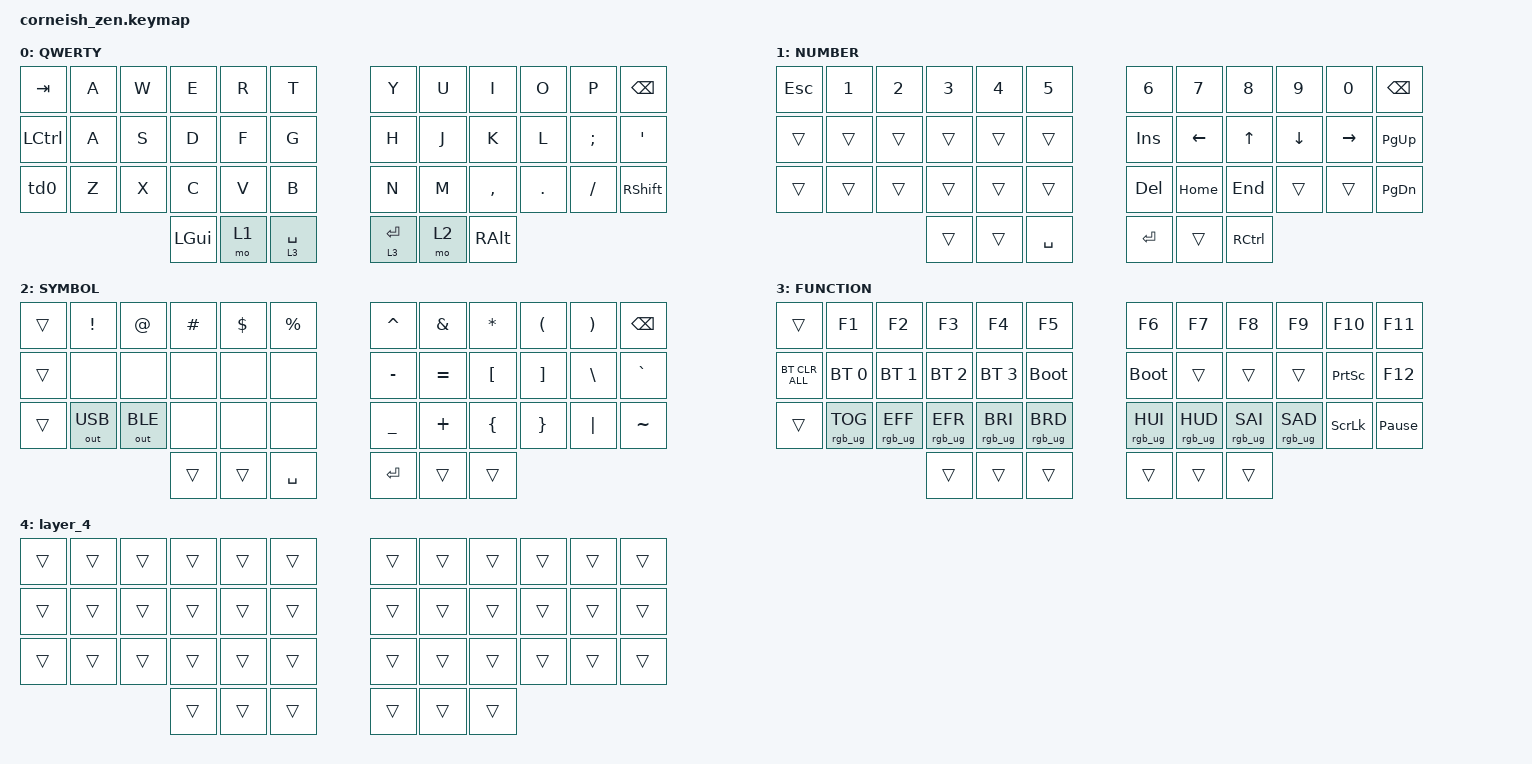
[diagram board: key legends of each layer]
/*
 * Copyright (c) 2020 The ZMK Contributors
 *
 * SPDX-License-Identifier: MIT
 */

#include <behaviors.dtsi>
#include <dt-bindings/zmk/bt.h>
#include <dt-bindings/zmk/keys.h>
#include <dt-bindings/zmk/outputs.h>
#include <dt-bindings/zmk/rgb.h>

/ {
    chosen {
        zmk,matrix_transform = &default_transform;

        // zmk,matrix_transform = &five_column_transform;
    };
};

/ {
    behaviors {
        td0: td0 {
            compatible = "zmk,behavior-tap-dance";
            label = "TD0";
            #binding-cells = <0>;
            bindings = <&kp LEFT_SHIFT>, <&kp CAPS>;
        };
    };

    keymap {
        compatible = "zmk,keymap";

        layer_0 {
            display-name = "QWERTY";

            // --------------------------------------------------------------------------------
            // |  TAB |  Q  |  W  |  E  |  R  |  T  |   |  Y  |  U   |  I  |  O  |  P  | BKSP |
            // | CTRL |  A  |  S  |  D  |  F  |  G  |   |  H  |  J   |  K  |  L  |  ;  |  '   | 
            // | SHFT |  Z  |  X  |  C  |  V  |  B  |   |  N  |  M   |  ,  |  .  |  /  | ESC  |
            //                    | GUI | LWR | SPC |   | ENT | RSE  | ALT |

            bindings = <
&kp TAB    &kp A  &kp W  &kp E     &kp R  &kp T          &kp Y        &kp U  &kp I      &kp O    &kp P     &kp BSPC
&kp LCTRL  &kp A  &kp S  &kp D     &kp F  &kp G          &kp H        &kp J  &kp K      &kp L    &kp SEMI  &kp SQT
&td0       &kp Z  &kp X  &kp C     &kp V  &kp B          &kp N        &kp M  &kp COMMA  &kp DOT  &kp FSLH  &kp RSHFT
                         &kp LGUI  &mo 1  &lt 3 SPACE    &lt 3 ENTER  &mo 2  &kp RALT
            >;
        };

        layer_1 {
            display-name = "NUMBER";

            // -----------------------------------------------------------------------------------------
            // |  TAB |  1  |  2  |  3  |  4  |  5  |   |  6  |  7  |  8  |  9  |  0  | BKSP |
            // | BTCLR| BT1 | BT2 | BT3 | BT4 | BT5 |   | LFT | DWN |  UP | RGT |     |      |
            // | SHFT |     |     |     |     |     |   |     |     |     |     |     |      |
            //                    | GUI |     | SPC |   | ENT |     | ALT |

            bindings = <
&kp ESC  &kp NUMBER_1  &kp N2  &kp N3  &kp N4  &kp N5       &kp N6      &kp N7          &kp N8     &kp N9    &kp N0     &kp BSPC
&trans   &trans        &trans  &trans  &trans  &trans       &kp INS     &kp LEFT_ARROW  &kp UP     &kp DOWN  &kp RIGHT  &kp PG_UP
&trans   &trans        &trans  &trans  &trans  &trans       &kp DELETE  &kp HOME        &kp END    &trans    &trans     &kp PG_DN
                               &trans  &trans  &kp SPACE    &kp ENTER   &trans          &kp RCTRL
            >;
        };

        layer_2 {
            display-name = "SYMBOL";

            // -----------------------------------------------------------------------------------------
            // |  TAB |  !  |  @  |  #  |  $  |  %  |   |  ^  |  &  |  *  |  (  |  )  | BKSP |
            // | CTRL |     |     |     |     |     |   |  -  |  =  |  [  |  ]  |  \  |  `   |
            // | SHFT |     |     |     |     |     |   |  _  |  +  |  {  |  }  | "|" |  ~   |
            //                    | GUI |     | SPC |   | ENT |     | ALT |

            bindings = <
&trans  &kp EXCL      &kp AT        &kp HASH  &kp DLLR  &kp PRCNT    &kp CARET  &kp AMPS   &kp ASTRK  &kp LPAR  &kp RPAR  &kp BSPC
&trans  &none         &none         &none     &none     &none        &kp MINUS  &kp EQUAL  &kp LBKT   &kp RBKT  &kp BSLH  &kp GRAVE
&trans  &out OUT_USB  &out OUT_BLE  &none     &none     &none        &kp UNDER  &kp PLUS   &kp LBRC   &kp RBRC  &kp PIPE  &kp TILDE
                                    &trans    &trans    &kp SPACE    &kp RET    &trans     &trans
            >;
        };

        layer_3 {
            display-name = "FUNCTION";
            bindings = <
&trans          &kp F1           &kp F2           &kp F3           &kp F4           &kp F5             &kp F6           &kp F7           &kp F8           &kp F9           &kp F10          &kp F11
&bt BT_CLR_ALL  &bt BT_SEL 0     &bt BT_SEL 1     &bt BT_SEL 2     &bt BT_SEL 3     &bootloader        &bootloader      &trans           &trans           &trans           &kp PRINTSCREEN  &kp F12
&trans          &rgb_ug RGB_TOG  &rgb_ug RGB_EFF  &rgb_ug RGB_EFR  &rgb_ug RGB_BRI  &rgb_ug RGB_BRD    &rgb_ug RGB_HUI  &rgb_ug RGB_HUD  &rgb_ug RGB_SAI  &rgb_ug RGB_SAD  &kp SCROLLLOCK   &kp PAUSE_BREAK
                                                  &trans           &trans           &trans             &trans           &trans           &trans
            >;
        };

        layer_4 {
            bindings = <
&trans  &trans  &trans  &trans  &trans  &trans    &trans  &trans  &trans  &trans  &trans  &trans
&trans  &trans  &trans  &trans  &trans  &trans    &trans  &trans  &trans  &trans  &trans  &trans
&trans  &trans  &trans  &trans  &trans  &trans    &trans  &trans  &trans  &trans  &trans  &trans
                        &trans  &trans  &trans    &trans  &trans  &trans
            >;
        };
    };
};
